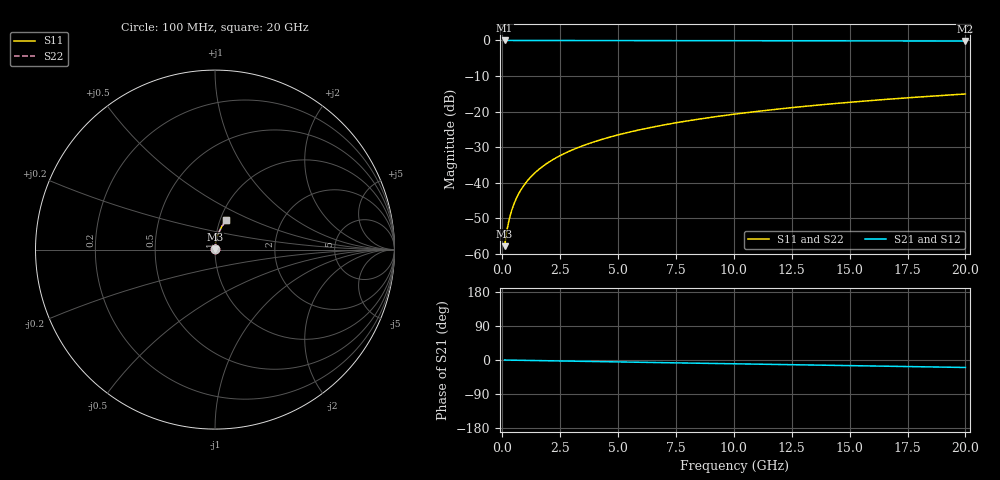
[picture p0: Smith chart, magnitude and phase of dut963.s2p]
! Touchstone file exported from HFSS 2026.1.0
!  File:  C:/ffzhzh/LocalFiles/Ansys_Project_Files/temp_train_BSMRDL_963_1783172469_51560.aedt
!  Generated:  09:42:19 PM Jul  4, 2026
!  Design:  BSMRDL
!  Project:  temp_train_BSMRDL_963_1783172469_51560
! Variables:
!  h_bsmrdl = 5.94um
!  h_ox = 20um
!  h_rdl = 5um
!  h_sub = 80um
!  h_tmrdl = 5um
!  h_tsv = 80um
!  h_via = 3um
!  l_bsmrdl = 264.16um
!  l_sub = 664.16um
!  l_tmrdl = 200um
!  m_sub = 200um
!  pitch = 55.76um
!  r_tsv = 6um
!  s_tmrdl = 10um
!  w_bsmrdl = 28.1um
!  w_sub = 500um
!  w_tmrdl = 12um
!  x_tsv_center1 = 206um
!  x_tsv_center2 = 498.26um
!  x_tsv_center3 = 710.26um
!  x_tsv_center4 = 1002.52um
!  x_tsv_center5 = 1214.52um
!  x_tsv_center6 = 1506.78um
# GHz S MA R 50.000000
! Terminal data exported
! Port[1] = BSM_RDL1_1_T1
! Port[2] = BSM_RDL1_1_T2
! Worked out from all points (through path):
!   200 points, 100 MHz to 20 GHz, reference 50 ohm
!   highest |S21| = -0.01 dB at 100 MHz (marker M1); lowest = -0.2 dB at 20 GHz (marker M2)
!   group delay of S21, straight-line fit = 2.73 ps
!   lowest |S11| = -57.9 dB at 100 MHz (marker M3), VSWR 1.00, Z = 50.1 + j0.105 ohm
!   |S11| at or under -10 dB: start of sweep to end of sweep
!   |S22| runs from -57.9 to -15.1 dB; largest |S21 - S12| = 7.1e-15
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0.1  0.001275 55.4  0.9993 -0.1  0.9993 -0.1  0.001275 55.4
! Gamma 0 0 0 0
! Port Impedance 50 0 50 0
0.2  0.002132 69.3  0.9992 -0.2  0.9992 -0.2  0.002131 69.3
0.3  0.003058 75.3  0.9992 -0.3  0.9992 -0.3  0.003058 75.3
0.4  0.004009 78.5  0.9991 -0.4  0.9991 -0.4  0.004009 78.5
0.5  0.004969 80.4  0.9991 -0.5  0.9991 -0.5  0.004969 80.4
0.7  0.0069 82.4  0.999 -0.7  0.999 -0.7  0.0069 82.4
0.8  0.007866 82.9  0.999 -0.8  0.999 -0.8  0.007866 82.9
1  0.009795 83.6  0.9989 -1.0  0.9989 -1.0  0.009795 83.6
1.2  0.01172 84.0  0.9989 -1.2  0.9989 -1.2  0.01172 84.0
1.4  0.01363 84.2  0.9988 -1.4  0.9988 -1.4  0.01363 84.2
1.7  0.01649 84.2  0.9986 -1.7  0.9986 -1.7  0.01649 84.2
2  0.01932 84.2  0.9985 -2.0  0.9985 -2.0  0.01932 84.2
2.7  0.02585 83.8  0.9981 -2.8  0.9981 -2.8  0.02585 83.8
3.5  0.03323 83.3  0.9976 -3.6  0.9976 -3.6  0.03323 83.3
4.2  0.03962 82.8  0.9972 -4.3  0.9972 -4.3  0.03962 82.8
5  0.04689 82.1  0.9966 -5.1  0.9966 -5.1  0.04689 82.1
6.8  0.06311 80.7  0.9953 -6.8  0.9953 -6.8  0.06311 80.7
8.3  0.0765 79.4  0.994 -8.3  0.994 -8.3  0.0765 79.4
10.1  0.09242 77.8  0.9924 -10.1  0.9924 -10.1  0.09242 77.8
13.4  0.1212 74.8  0.9888 -13.3  0.9888 -13.3  0.1212 74.8
16.7  0.1492 71.8  0.9845 -16.5  0.9845 -16.5  0.1492 71.8
20  0.1764 68.8  0.9796 -19.7  0.9796 -19.7  0.1764 68.8
